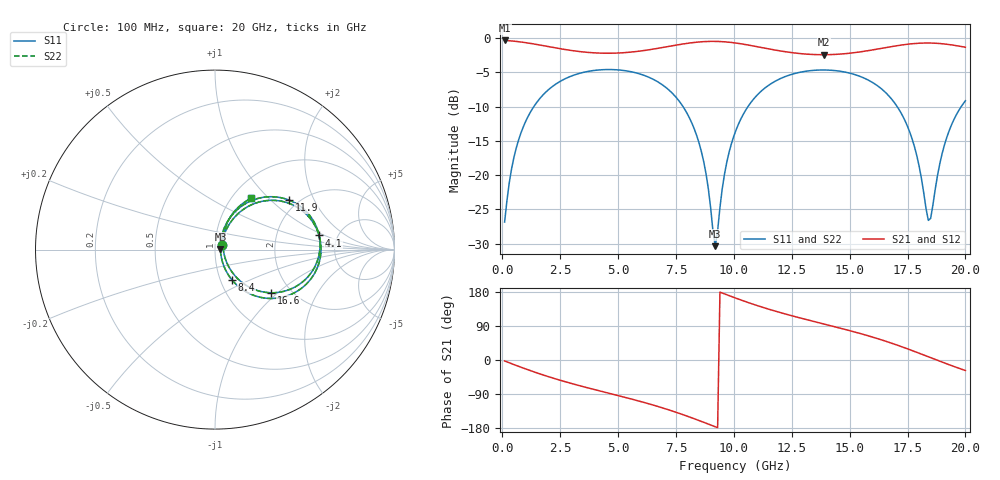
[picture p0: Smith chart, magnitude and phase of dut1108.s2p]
! Touchstone file exported from HFSS 2026.1.0
!  File:  C:/ffzhzh/LocalFiles/Ansys_Project_Files/temp_train_TSV_RDL_1108_1783304457_30076.aedt
!  Generated:  10:37:40 AM Jul  6, 2026
!  Design:  TSV_RDL
!  Project:  temp_train_TSV_RDL_1108_1783304457_30076
! Variables:
!  h_bsmrdl = 4.72um
!  h_ox = 20um
!  h_rdl = 5um
!  h_sub = 92.29um
!  h_tmrdl = 2.39um
!  h_tsv = 92.29um
!  h_via = 3um
!  l_bsmrdl = 686.11um
!  l_sub = 6216.03um
!  l_tmrdl = 912.89um
!  m_sub = 200um
!  pitch = 55.74um
!  r_tsv = 14.02um
!  s_tmrdl = 10um
!  w_bsmrdl = 15.24um
!  w_sub = 500um
!  w_tmrdl = 20.14um
!  x_tsv_center1 = 922.96um
!  x_tsv_center2 = 1624.31um
!  x_tsv_center3 = 2557.34um
!  x_tsv_center4 = 3258.69um
!  x_tsv_center5 = 4191.72um
!  x_tsv_center6 = 4893.07um
# GHz S MA R 50.000000
! Terminal data exported
! Port[1] = TM_RDL1_1_T1
! Port[2] = TM_RDL5_1_T1
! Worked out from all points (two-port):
!   200 points, 100 MHz to 20 GHz, reference 50 ohm
!   highest |S21| = -0.33 dB at 100 MHz (marker M1); lowest = -2.4 dB at 13.9 GHz (marker M2)
!   |S21| within 3 dB of the highest: start of sweep to end of sweep
!   lowest |S11| = -30.4 dB at 9.2 GHz (marker M3), VSWR 1.06, Z = 53.1 + j0.161 ohm
!   |S11| at or under -10 dB: start of sweep to 1.361 GHz; 7.807 GHz to 10.61 GHz (2.801 GHz wide, 30.4 % of centre); 17.05 GHz to 19.82 GHz (2.764 GHz wide, 15 % of centre)
!   |S22| runs from -30.5 to -4.6 dB; largest |S21 - S12| = 1.6e-14
!   S11 on the Smith chart (normalised r, x): 100 MHz: 1.08, +0.05; 4.1 GHz: 3.60, +0.86; 8.4 GHz: 1.13, -0.40; 11.9 GHz: 1.79, +1.31; 16.6 GHz: 1.59, -0.91; 20 GHz: 1.22, +0.79
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0.1  0.0454 33.8  0.963 -2.5  0.963 -2.5  0.0454 33.8
! Gamma 0 0 0 0
! Port Impedance 50 0 50 0
0.5  0.1342 60.6  0.9517 -12.0  0.9517 -12.0  0.1342 60.6
1.1  0.2655 55.4  0.9233 -25.6  0.9233 -25.6  0.2655 55.4
2.2  0.4486 37.3  0.8558 -47.9  0.8558 -47.9  0.4486 37.3
3.5  0.5629 16.7  0.7935 -70.4  0.7935 -70.4  0.563 16.7
4.1  0.585 7.8  0.7798 -79.9  0.7798 -79.9  0.585 7.8
5.4  0.5758 -11.4  0.7874 -100.2  0.7874 -100.2  0.5758 -11.4
6.8  0.4705 -33.7  0.8481 -124.1  0.8481 -124.1  0.4705 -33.7
8.4  0.1935 -60.7  0.9355 -157.5  0.9355 -157.5  0.1934 -60.8
8.8  0.102 -61.5  0.9462 -166.8  0.9462 -166.8  0.1019 -61.7
9.2  0.03027 2.9  0.9483 -176.2  0.9483 -176.2  0.02999 2.8
9.6  0.1024 65.7  0.9414 174.4  0.9414 174.4  0.1023 65.9
10.1  0.2146 63.7  0.9216 162.9  0.9216 162.9  0.2146 63.8
11.9  0.4968 33.7  0.813 127.0  0.813 127.0  0.4968 33.7
13.4  0.5816 11.0  0.7608 102.5  0.7608 102.5  0.5817 11.0
13.9  0.5861 3.8  0.7577 94.8  0.7577 94.8  0.5861 3.8
16.6  0.3939 -37.6  0.8561 48.7  0.8561 48.7  0.394 -37.7
16.7  0.3781 -39.3  0.862 46.7  0.862 46.7  0.3782 -39.3
17.7  0.1836 -52.7  0.9114 24.9  0.9114 24.9  0.1837 -52.7
18.4  0.04668 -4.3  0.9228 8.5  0.9228 8.5  0.04667 -4.4
19.1  0.1672 65.4  0.9076 -8.0  0.9076 -8.0  0.1671 65.4
20  0.3491 54.9  0.8591 -27.7  0.8591 -27.7  0.349 54.8
